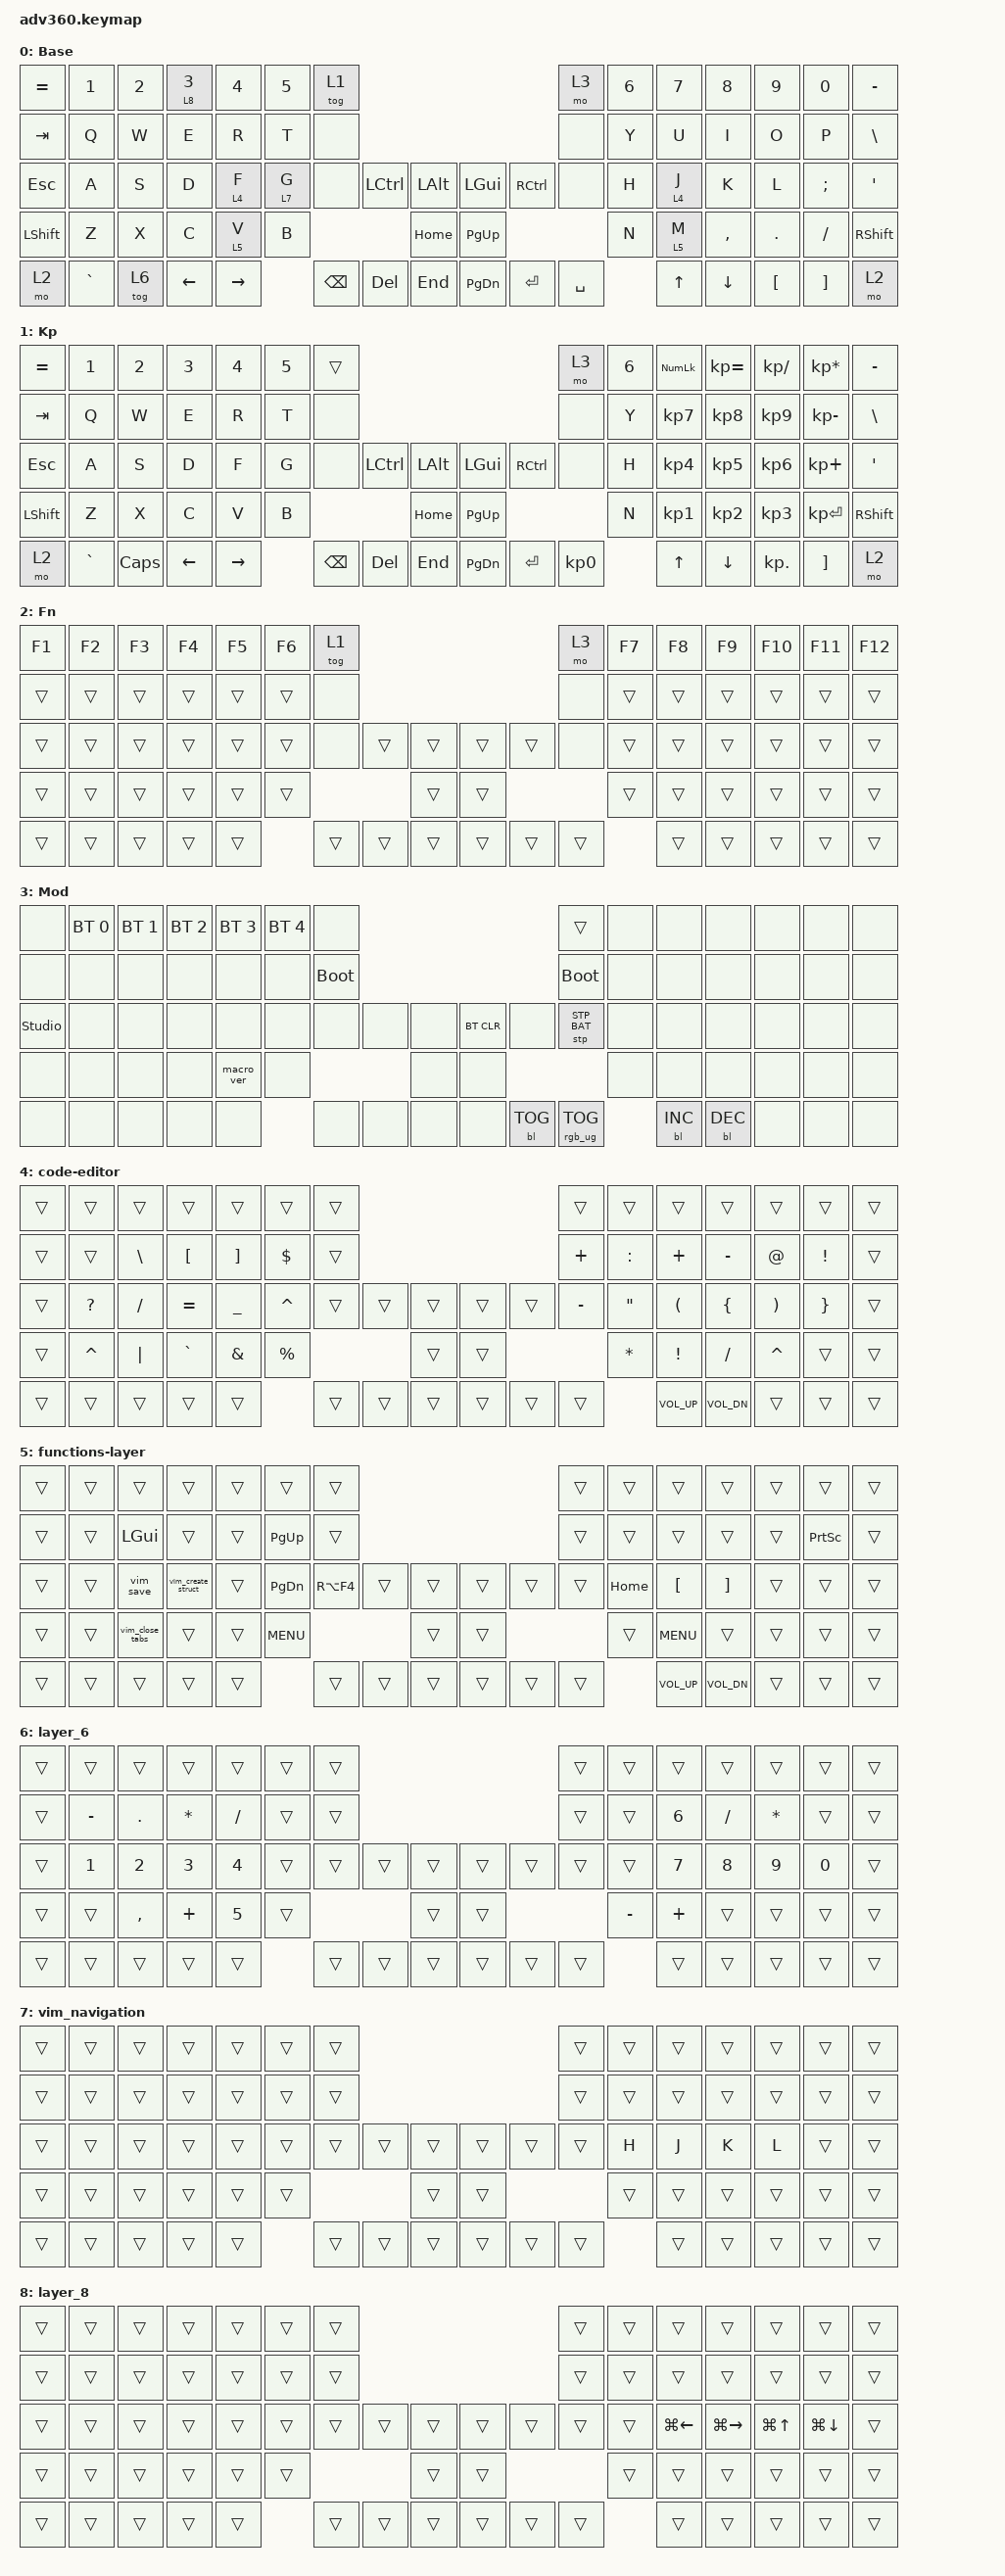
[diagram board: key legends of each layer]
#include <dt-bindings/zmk/stp.h>
#include <behaviors.dtsi>
#include <dt-bindings/zmk/backlight.h>
#include <dt-bindings/zmk/bt.h>
#include <dt-bindings/zmk/keys.h>
#include <dt-bindings/zmk/rgb.h>

/ {
    behaviors {
        #include "macros.dtsi"
      #include "version.dtsi"

        hm: homerow_mods {
            compatible = "zmk,behavior-hold-tap";
            label = "HOMEROW_MODS";
            #binding-cells = <2>;
            tapping-term-ms = <300>;
            quick_tap_ms = <200>;
            flavor = "hold-preferred";
            bindings = <&kp>, <&kp>;

            quick-tap-ms = <200>;
            require-prior-idle-ms = <200>;
        };
    };

    macros {
        vim_save: vim_save {
            compatible = "zmk,behavior-macro";
            #binding-cells = <0>;
            bindings = <&kp ESCAPE &kp COLON &kp W &kp RET>;
            label = "VIM_SAVE";
        };

        vim_close_tabs: vim_close_tabs {
            compatible = "zmk,behavior-macro";
            #binding-cells = <0>;
            bindings = <&kp ESCAPE &kp COLON &kp PRCNT &kp B &kp D &kp E &kp L &kp E &kp T &kp E &kp SPACE &kp PIPE &kp SPACE &kp E &kp D &kp I &kp T &kp SPACE &kp POUND &kp SPACE &kp PIPE &kp SPACE &kp B &kp D &kp E &kp L &kp E &kp T &kp E &kp SPACE &kp POUND &kp RET>;
            label = "VIM_CLOSE_TABS";
        };

        vim_create_struct: vim_create_struct {
            compatible = "zmk,behavior-macro";
            #binding-cells = <0>;
            bindings = <&kp ESCAPE &kp AT &kp S>;
            label = "VIM_CREATE_STRUCT";
        };
    };

    combos {
        compatible = "zmk,combos";

        numbers_layer {
            bindings = <&tog 6>;
            key-positions = <25 24>;
        };

        windows_browsing {
            bindings = <&kp RA(TAB)>;
            key-positions = <71 72>;
        };

        left_shift {
            bindings = <&kp LEFT_SHIFT>;
            key-positions = <30 31>;
        };

        right_shift {
            bindings = <&kp RIGHT_SHIFT>;
            key-positions = <43 42>;
        };

        caps_lock {
            bindings = <&kp CAPS>;
            key-positions = <65 70>;
        };

        right_alt {
            bindings = <&kp RIGHT_ALT>;
            key-positions = <23 24>;
        };

        left_ctrl {
            bindings = <&kp LEFT_CONTROL>;
            key-positions = <29 30>;
        };

        right_ctrl {
            bindings = <&kp RIGHT_CONTROL>;
            key-positions = <44 43>;
        };

        left_alt {
            bindings = <&kp LEFT_ALT>;
            key-positions = <3 4>;
        };

        right_super {
            bindings = <&kp RIGHT_WIN>;
            key-positions = <57 56>;
        };

        left_super {
            bindings = <&kp LEFT_WIN>;
            key-positions = <48 49>;
        };
    };

    keymap {
        compatible = "zmk,keymap";

        default_layer {
            display-name = "Base";
            bindings = <
&kp EQUAL  &kp N1     &kp N2  &lt 8 NUMBER_3  &kp N4     &kp N5   &tog 1                                                   &mo 3      &kp N6  &kp N7   &kp N8     &kp N9    &kp N0         &kp MINUS
&kp TAB    &kp Q      &kp W   &kp E           &kp R      &kp T    &none                                                    &none      &kp Y   &kp U    &kp I      &kp O     &kp P          &kp BSLH
&kp ESC    &kp A      &kp S   &kp D           &lt 4 F    &lt 7 G  &none     &kp LCTRL  &kp LALT      &kp LGUI   &kp RCTRL  &none      &kp H   &lt 4 J  &kp K      &kp L     &kp SEMICOLON  &kp SQT
&kp LSHFT  &kp Z      &kp X   &kp C           &lt 5 V    &kp B                         &kp HOME      &kp PG_UP                        &kp N   &lt 5 M  &kp COMMA  &kp DOT   &kp SLASH      &kp RSHFT
&mo 2      &kp GRAVE  &tog 6  &kp LEFT        &kp RIGHT           &kp BSPC  &kp DEL    &kp END       &kp PG_DN  &kp ENTER  &kp SPACE          &kp UP   &kp DOWN   &kp LBKT  &kp RBKT       &mo 2
            >;
        };

        keypad {
            display-name = "Kp";
            bindings = <
&kp EQUAL  &kp N1     &kp N2    &kp N3    &kp N4     &kp N5  &trans                                                   &mo 3      &kp N6  &kp KP_NUM  &kp KP_EQUAL  &kp KP_DIVIDE  &kp KP_MULTIPLY  &kp MINUS
&kp TAB    &kp Q      &kp W     &kp E     &kp R      &kp T   &none                                                    &none      &kp Y   &kp KP_N7   &kp KP_N8     &kp KP_N9      &kp KP_MINUS     &kp BSLH
&kp ESC    &kp A      &kp S     &kp D     &kp F      &kp G   &none     &kp LCTRL  &kp LALT      &kp LGUI   &kp RCTRL  &none      &kp H   &kp KP_N4   &kp KP_N5     &kp KP_N6      &kp KP_PLUS      &kp SQT
&kp LSHFT  &kp Z      &kp X     &kp C     &kp V      &kp B                        &kp HOME      &kp PG_UP                        &kp N   &kp KP_N1   &kp KP_N2     &kp KP_N3      &kp KP_ENTER     &kp RSHFT
&mo 2      &kp GRAVE  &kp CAPS  &kp LEFT  &kp RIGHT          &kp BSPC  &kp DEL    &kp END       &kp PG_DN  &kp ENTER  &kp KP_N0          &kp UP      &kp DOWN      &kp KP_DOT     &kp RBKT         &mo 2
            >;
        };

        fn {
            display-name = "Fn";
            bindings = <
&kp F1  &kp F2  &kp F3  &kp F4  &kp F5  &kp F6  &tog 1                                      &mo 3   &kp F7  &kp F8  &kp F9  &kp F10  &kp F11  &kp F12
&trans  &trans  &trans  &trans  &trans  &trans  &none                                       &none   &trans  &trans  &trans  &trans   &trans   &trans
&trans  &trans  &trans  &trans  &trans  &trans  &none   &trans  &trans      &trans  &trans  &none   &trans  &trans  &trans  &trans   &trans   &trans
&trans  &trans  &trans  &trans  &trans  &trans                  &trans      &trans                  &trans  &trans  &trans  &trans   &trans   &trans
&trans  &trans  &trans  &trans  &trans          &trans  &trans  &trans      &trans  &trans  &trans          &trans  &trans  &trans   &trans   &trans
            >;
        };

        mod {
            display-name = "Mod";
            bindings = <
&none           &bt BT_SEL 0  &bt BT_SEL 1  &bt BT_SEL 2  &bt BT_SEL 3  &bt BT_SEL 4  &none                                                  &trans           &none  &none       &none       &none  &none  &none
&none           &none         &none         &none         &none         &none         &bootloader                                            &bootloader      &none  &none       &none       &none  &none  &none
&studio_unlock  &none         &none         &none         &none         &none         &none        &none  &none      &bt BT_CLR  &none       &stp STP_BAT     &none  &none       &none       &none  &none  &none
&none           &none         &none         &none         &macro_ver    &none                             &none      &none                                    &none  &none       &none       &none  &none  &none
&none           &none         &none         &none         &none                       &none        &none  &none      &none       &bl BL_TOG  &rgb_ug RGB_TOG         &bl BL_INC  &bl BL_DEC  &none  &none  &none
            >;
        };

        code-editor {
            bindings = <
&trans  &trans        &trans         &trans            &trans             &trans       &trans                                      &trans     &trans             &trans                &trans          &trans                 &trans           &trans
&trans  &trans        &kp BACKSLASH  &kp LEFT_BRACKET  &kp RIGHT_BRACKET  &kp DOLLAR   &trans                                      &kp PLUS   &kp COLON          &kp PLUS              &kp MINUS       &kp AT_SIGN            &kp EXCLAMATION  &trans
&trans  &kp QUESTION  &kp SLASH      &kp EQUAL         &kp UNDERSCORE     &kp CARET    &trans  &trans  &trans      &trans  &trans  &kp MINUS  &kp DOUBLE_QUOTES  &kp LEFT_PARENTHESIS  &kp LEFT_BRACE  &kp RIGHT_PARENTHESIS  &kp RIGHT_BRACE  &trans
&trans  &kp CARET     &kp PIPE       &kp GRAVE         &kp AMPERSAND      &kp PERCENT                  &trans      &trans                     &kp ASTERISK       &kp EXCLAMATION       &kp SLASH       &kp CARET              &trans           &trans
&trans  &trans        &trans         &trans            &trans                          &trans  &trans  &trans      &trans  &trans  &trans                        &kp C_VOL_UP          &kp C_VOL_DN    &trans                 &trans           &trans
            >;
        };

        functions-layer {
            bindings = <
&trans  &trans  &trans           &trans              &trans  &trans         &trans                                          &trans  &trans    &trans            &trans             &trans  &trans           &trans
&trans  &trans  &kp LEFT_GUI     &trans              &trans  &kp PG_UP      &trans                                          &trans  &trans    &trans            &trans             &trans  &kp PRINTSCREEN  &trans
&trans  &trans  &vim_save        &vim_create_struct  &trans  &kp PAGE_DOWN  &kp RA(F4)  &trans  &trans      &trans  &trans  &trans  &kp HOME  &kp LEFT_BRACKET  &kp RIGHT_BRACKET  &trans  &trans           &trans
&trans  &trans  &vim_close_tabs  &trans              &trans  &kp C_MENU                         &trans      &trans                  &trans    &kp C_MENU        &trans             &trans  &trans           &trans
&trans  &trans  &trans           &trans              &trans                 &trans      &trans  &trans      &trans  &trans  &trans            &kp C_VOL_UP      &kp C_VOL_DN       &trans  &trans           &trans
            >;
        };

        layer_6 {
            bindings = <
&trans  &trans        &trans        &trans        &trans        &trans  &trans                                      &trans  &trans     &trans        &trans     &trans        &trans  &trans
&trans  &kp MINUS     &kp PERIOD    &kp ASTERISK  &kp SLASH     &trans  &trans                                      &trans  &trans     &kp NUMBER_6  &kp SLASH  &kp ASTERISK  &trans  &trans
&trans  &kp NUMBER_1  &kp NUMBER_2  &kp NUMBER_3  &kp NUMBER_4  &trans  &trans  &trans  &trans      &trans  &trans  &trans  &trans     &kp N7        &kp N8     &kp N9        &kp N0  &trans
&trans  &trans        &kp COMMA     &kp PLUS      &kp N5        &trans                  &trans      &trans                  &kp MINUS  &kp PLUS      &trans     &trans        &trans  &trans
&trans  &trans        &trans        &trans        &trans                &trans  &trans  &trans      &trans  &trans  &trans             &trans        &trans     &trans        &trans  &trans
            >;
        };

        vim_navigation {
            bindings = <
&trans  &trans  &trans  &trans  &trans  &trans  &trans                                      &trans  &trans  &trans  &trans  &trans  &trans  &trans
&trans  &trans  &trans  &trans  &trans  &trans  &trans                                      &trans  &trans  &trans  &trans  &trans  &trans  &trans
&trans  &trans  &trans  &trans  &trans  &trans  &trans  &trans  &trans      &trans  &trans  &trans  &kp H   &kp J   &kp K   &kp L   &trans  &trans
&trans  &trans  &trans  &trans  &trans  &trans                  &trans      &trans                  &trans  &trans  &trans  &trans  &trans  &trans
&trans  &trans  &trans  &trans  &trans          &trans  &trans  &trans      &trans  &trans  &trans          &trans  &trans  &trans  &trans  &trans
            >;
        };

        layer_8 {
            bindings = <
&trans  &trans  &trans  &trans  &trans  &trans  &trans                                      &trans  &trans  &trans              &trans               &trans            &trans              &trans
&trans  &trans  &trans  &trans  &trans  &trans  &trans                                      &trans  &trans  &trans              &trans               &trans            &trans              &trans
&trans  &trans  &trans  &trans  &trans  &trans  &trans  &trans  &trans      &trans  &trans  &trans  &trans  &kp LG(LEFT_ARROW)  &kp LG(RIGHT_ARROW)  &kp LG(UP_ARROW)  &kp LG(DOWN_ARROW)  &trans
&trans  &trans  &trans  &trans  &trans  &trans                  &trans      &trans                  &trans  &trans              &trans               &trans            &trans              &trans
&trans  &trans  &trans  &trans  &trans          &trans  &trans  &trans      &trans  &trans  &trans          &trans              &trans               &trans            &trans              &trans
            >;
        };
    };
};
